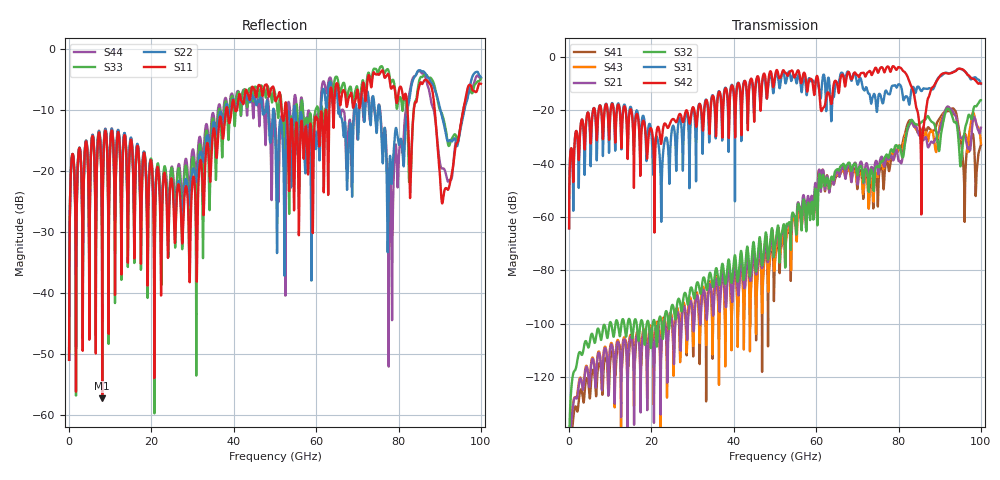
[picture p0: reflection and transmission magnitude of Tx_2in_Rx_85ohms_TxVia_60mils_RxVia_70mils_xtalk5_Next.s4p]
! Info: Touchstone file created by Circ.  Input file=Tx_2in_Rx_85ohms_TxVia_60mils_RxVia_70mils.circ
# Hz S RI R 50
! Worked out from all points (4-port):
!   10000 points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, 10 MHz to 100 GHz, reference 50 ohm
!   strongest paths, dB at 10 MHz, 25.01 GHz, 50.01 GHz, 75.01 GHz, 100 GHz:
!     S42: -64.2, -23.5, -7.3, -6.0, -10.0
!     S31: -64.2, -26.9, -8.3, -16.1, -10.1
!     S32: -156.4, -93.0, -70.4, -40.9, -16.2
!     S21: -167.1, -99.1, -71.1, -43.3, -26.5
!     S43: -158.1, -98.8, -75.4, -44.4, -32.4
!     S41: -158.2, -99.1, -76.5, -54.8, -33.1
!   lowest |S11| = -57.2 dB at 8.05 GHz (marker M1), VSWR 1.00, Z = 49.9 + j0.122 ohm
!   |S11| at or under -10 dB: start of sweep to 38.09 GHz; 52.85 GHz to 62.33 GHz (9.473 GHz wide, 16.4 % of centre); 88.81 GHz to 95.73 GHz (6.926 GHz wide, 7.51 % of centre)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
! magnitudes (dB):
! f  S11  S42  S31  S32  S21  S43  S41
! 10 MHz  -50.9  -64.2  -64.2  -156.4  -167.1  -158.1  -158.2
! 8.05 GHz  -57.2  -25.4  -26.4  -103.7  -123.0  -121.9  -125.5
! 22.4 GHz  -36.6  -32.4  -60.1  -99.1  -110.0  -105.5  -107.5
! 44 GHz  -8.0  -8.9  -8.8  -81.5  -83.9  -94.7  -97.3
! 78.03 GHz  -6.0  -5.6  -13.3  -35.2  -37.1  -36.7  -39.8
! 85.6 GHz  -5.6  -40.4  -12.8  -24.5  -31.4  -29.9  -27.8
! 100 GHz  -5.7  -10.0  -10.1  -16.2  -26.5  -32.4  -33.1
